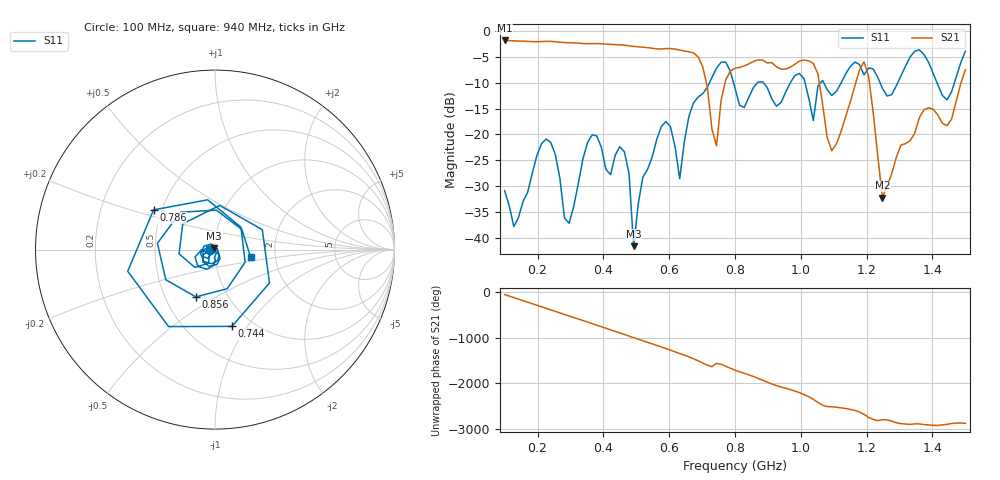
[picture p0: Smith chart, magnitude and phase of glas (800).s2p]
! NanoVNA-App
! Date: 2025-09-25 16:01:42
! Start: 100MHz Stop: 1,5GHz Points: 101
! S-Parameter data: F S11 S21 S12 S22
# Hz S RI R 50
!  Frequency  S11_Real  S11_Imag  S21_Real  S21_Imag  S12_Real  S12_Imag  S22_Real  S22_Imag
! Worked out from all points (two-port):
!   101 points, 100 MHz to 1.5 GHz, reference 50 ohm
!   highest |S21| = -1.80 dB at 100 MHz (marker M1); lowest = -32.3 dB at 1.248 GHz (marker M2)
!   |S21| within 3 dB of the highest: start of sweep to 684.3 MHz
!   lowest |S11| = -41.7 dB at 492 MHz (marker M3), VSWR 1.02, Z = 49.5 + j0.627 ohm
!   |S11| at or under -10 dB: start of sweep to 722.4 MHz; 795.5 MHz to 868.1 MHz (72.63 MHz wide, 8.73 % of centre); 886.3 MHz to 968.1 MHz (81.82 MHz wide, 8.83 % of centre)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
!   S12 and S22 are empty: the file has one direction only
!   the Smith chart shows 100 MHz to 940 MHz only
!   S11 on the Smith chart (normalised r, x): 100 MHz: 0.94, -0.01; 744 MHz: 0.81, -0.85; 786 MHz: 0.45, +0.24; 856 MHz: 0.71, -0.41; 940 MHz: 1.49, -0.14
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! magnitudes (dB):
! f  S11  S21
! 100 MHz  -30.9  -1.8
! 128 MHz  -37.9  -1.9
! 226 MHz  -20.9  -2.0
! 296 MHz  -37.2  -2.2
! 338 MHz  -24.7  -2.4
! 464 MHz  -23.4  -2.7
! 492 MHz  -41.7  -2.9
! 576 MHz  -18.5  -3.5
! 632 MHz  -28.6  -3.7
! 702 MHz  -12.1  -6.9
! 744 MHz  -7.2  -22.2
! 786 MHz  -7.8  -7.7
! 800 MHz  -11.0  -7.2
! 856 MHz  -10.9  -5.9
! 940 MHz  -13.8  -7.4
! 996 MHz  -8.2  -5.8
! 1.038 GHz  -17.3  -6.3
! 1.094 GHz  -12.5  -23.2
! 1.192 GHz  -8.5  -6.0
! 1.248 GHz  -11.1  -32.3
! 1.276 GHz  -12.3  -27.7
! 1.5 GHz  -3.9  -7.5
